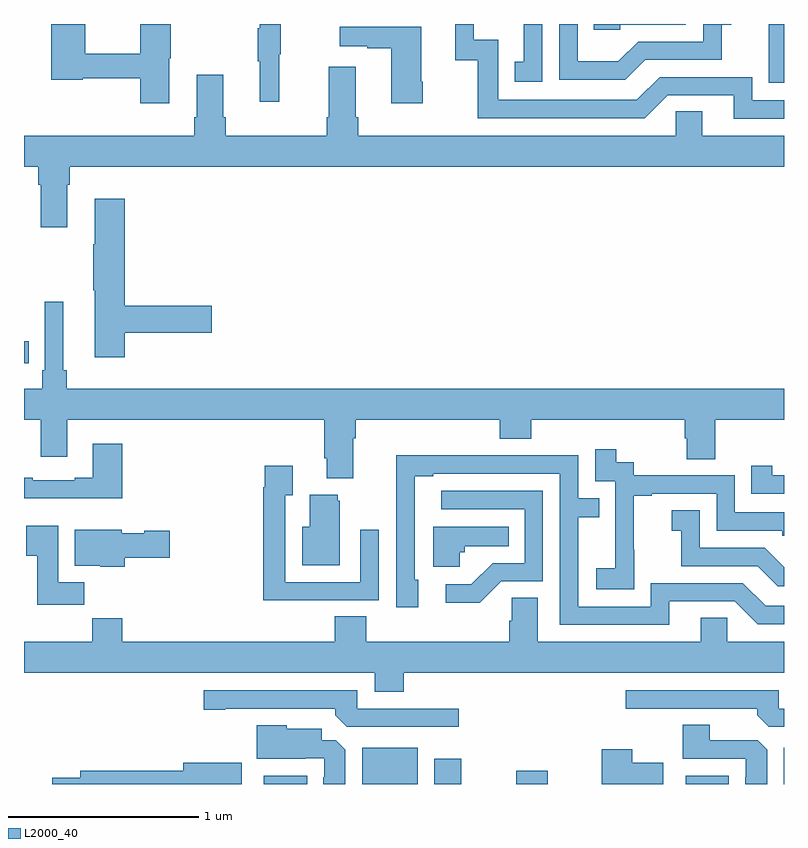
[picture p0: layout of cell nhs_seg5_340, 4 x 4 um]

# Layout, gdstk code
import gdstk
lib = gdstk.Library(unit=1e-6, precision=1e-09)
def R(c, l, rs):  # rectangles x0, y0, x1, y1
    for r in rs: c.add(gdstk.rectangle(r[:2], r[2:], *l))
def P(c, l, *ps):  # polygons
    for p in ps: c.add(gdstk.Polygon(p, *l))
L2000_40 = (2000, 40)

nhs_seg5_340 = lib.new_cell('nhs_seg5_340')
R(nhs_seg5_340, L2000_40, [(132.263,898.799,132.49,898.843), (132.779,898.799,133.072,898.99), (133.16,898.799,133.302,898.933), (133.591,898.799,133.756,898.87), (134.483,898.799,134.71,898.843), (134.999,898.799,135,898.99), (131,901.014,131.024,901.13)])
P(nhs_seg5_340, L2000_40, [(133.728,902.799),(133.631,902.799),(133.631,902.601),(133.582,902.601),(133.582,902.496),(133.728,902.496)],
  [(132.344,902.64),(132.352,902.64),(132.352,902.799),(132.242,902.799),(132.242,902.777),(132.231,902.777),(132.231,902.603),(132.242,902.603),(132.242,902.391),(132.344,902.391)],
  [(135,902.799),(134.921,902.799),(134.921,902.695),(134.92,902.695),(134.92,902.489),(135,902.489)],
  [(134.139,902.796),(134.484,902.796),(134.484,902.799),(133.999,902.799),(133.999,902.769),(134.139,902.769)],
  [(131.764,902.619),(131.772,902.619),(131.772,902.799),(131.611,902.799),(131.611,902.642),(131.322,902.642),(131.322,902.799),(131.144,902.799),(131.144,902.506),(131.31,902.506),(131.31,902.514),(131.611,902.514),(131.611,902.382),(131.764,902.382)],
  [(134.269,902.61),(134.673,902.61),(134.673,902.795),(134.722,902.795),(134.722,902.799),(134.574,902.799),(134.574,902.706),(134.232,902.706),(134.128,902.602),(133.914,902.602),(133.914,902.799),(133.818,902.799),(133.818,902.505),(134.164,902.505)],
  [(135,902.397),(134.832,902.397),(134.832,902.52),(134.346,902.52),(134.226,902.4),(133.497,902.4),(133.497,902.715),(133.368,902.715),(133.368,902.799),(133.271,902.799),(133.271,902.607),(133.389,902.607),(133.389,902.304),(134.268,902.304),(134.388,902.424),(134.735,902.424),(134.735,902.301),(135,902.301)],
  [(133.098,902.494),(133.09,902.494),(133.09,902.785),(132.663,902.785),(132.663,902.681),(132.806,902.681),(132.806,902.671),(132.932,902.671),(132.932,902.382),(133.098,902.382)],
  [(131.227,901.952),(131.24,901.952),(131.24,902.048),(135,902.048),(135,902.212),(134.569,902.212),(134.569,902.339),(134.43,902.339),(134.43,902.212),(132.758,902.212),(132.758,902.308),(132.745,902.308),(132.745,902.575),(132.605,902.575),(132.605,902.308),(132.593,902.308),(132.593,902.212),(132.062,902.212),(132.062,902.308),(132.049,902.308),(132.049,902.533),(131.909,902.533),(131.909,902.308),(131.897,902.308),(131.897,902.212),(131,902.212),(131,902.048),(131.075,902.048),(131.075,901.952),(131.087,901.952),(131.087,901.728),(131.227,901.728)],
  [(131.531,901.174),(131.989,901.174),(131.989,901.316),(131.531,901.316),(131.531,901.879),(131.372,901.879),(131.372,901.64),(131.365,901.64),(131.365,901.399),(131.372,901.399),(131.372,901.044),(131.531,901.044)],
  [(132.733,900.62),(132.746,900.62),(132.746,900.716),(133.505,900.716),(133.505,900.617),(133.67,900.617),(133.67,900.716),(134.477,900.716),(134.477,900.618),(134.489,900.618),(134.489,900.508),(134.637,900.508),(134.637,900.716),(135,900.716),(135,900.88),(131.225,900.88),(131.225,900.976),(131.206,900.976),(131.206,901.336),(131.109,901.336),(131.109,900.976),(131.096,900.976),(131.096,900.88),(131,900.88),(131,900.716),(131.087,900.716),(131.087,900.522),(131.227,900.522),(131.227,900.716),(132.581,900.716),(132.581,900.514),(132.593,900.514),(132.593,900.407),(132.733,900.407)],
  [(131.516,900.589),(131.363,900.589),(131.363,900.412),(131.267,900.412),(131.267,900.399),(131.047,900.399),(131.047,900.412),(131,900.412),(131,900.302),(131.516,900.302)],
  [(134.211,900.031),(134.21,900.031),(134.21,900.315),(134.305,900.315),(134.305,900.327),(134.646,900.327),(134.646,900.132),(134.991,900.132),(134.991,900.105),(135,900.105),(135,900.228),(134.742,900.228),(134.742,900.423),(134.208,900.423),(134.208,900.492),(134.116,900.492),(134.116,900.562),(134.007,900.562),(134.007,900.393),(134.112,900.393),(134.112,900.164),(134.111,900.164),(134.111,899.935),(134.013,899.935),(134.013,899.825),(134.211,899.825)],
  [(134.395,899.76),(134.742,899.76),(134.862,899.64),(135,899.64),(135,899.736),(134.904,899.736),(134.784,899.856),(134.298,899.856),(134.298,899.733),(133.917,899.733),(133.917,900.202),(134.027,900.202),(134.027,900.303),(133.917,900.303),(133.917,900.528),(133.421,900.528),(133.421,900.53),(132.958,900.53),(132.958,900.223),(132.96,900.223),(132.96,899.73),(133.075,899.73),(133.075,899.874),(133.056,899.874),(133.056,900.42),(133.153,900.42),(133.153,900.432),(133.821,900.432),(133.821,899.637),(134.395,899.637)],
  [(135,900.423),(134.938,900.423),(134.938,900.475),(134.827,900.475),(134.827,900.327),(135,900.327)],
  [(132.551,899.766),(132.867,899.766),(132.867,900.136),(132.771,900.136),(132.771,899.862),(132.375,899.862),(132.375,900.319),(132.415,900.319),(132.415,900.475),(132.267,900.475),(132.267,900.362),(132.259,900.362),(132.259,899.765),(132.551,899.765)],
  [(133.512,899.865),(133.731,899.865),(133.731,900.342),(133.197,900.342),(133.197,900.246),(133.635,900.246),(133.635,899.961),(133.466,899.961),(133.355,899.85),(133.221,899.85),(133.221,899.753),(133.399,899.753)],
  [(132.661,900.291),(132.65,900.291),(132.65,900.322),(132.503,900.322),(132.503,900.154),(132.464,900.154),(132.464,899.951),(132.661,899.951)],
  [(135,899.94),(134.898,900.042),(134.556,900.042),(134.556,900.241),(134.409,900.241),(134.409,900.131),(134.458,900.131),(134.458,899.946),(134.861,899.946),(134.966,899.841),(135,899.841)],
  [(131.318,899.86),(131.179,899.86),(131.179,900.157),(131.012,900.157),(131.012,900.001),(131.069,900.001),(131.069,899.742),(131.318,899.742)],
  [(133.293,900.018),(133.32,900.018),(133.32,900.05),(133.55,900.05),(133.55,900.154),(133.154,900.154),(133.154,899.942),(133.293,899.942)],
  [(131.531,899.989),(131.767,899.989),(131.767,900.131),(131.634,900.131),(131.634,900.118),(131.514,900.118),(131.514,900.136),(131.267,900.136),(131.267,899.948),(131.4,899.948),(131.4,899.942),(131.531,899.942)],
  [(132.998,899.384),(135,899.384),(135,899.548),(134.7,899.548),(134.7,899.675),(134.561,899.675),(134.561,899.548),(133.705,899.548),(133.705,899.78),(133.566,899.78),(133.566,899.657),(133.553,899.657),(133.553,899.548),(132.8,899.548),(132.8,899.681),(132.635,899.681),(132.635,899.548),(131.516,899.548),(131.516,899.672),(131.359,899.672),(131.359,899.548),(131,899.548),(131,899.384),(132.845,899.384),(132.845,899.285),(132.998,899.285)],
  [(133.288,899.196),(132.753,899.196),(132.753,899.292),(131.946,899.292),(131.946,899.191),(132.058,899.191),(132.058,899.196),(132.638,899.196),(132.638,899.162),(132.699,899.1),(133.288,899.1)],
  [(135,899.196),(134.973,899.196),(134.973,899.292),(134.166,899.292),(134.166,899.196),(134.858,899.196),(134.858,899.162),(134.919,899.1),(135,899.1)],
  [(134.911,898.979),(134.862,899.028),(134.608,899.028),(134.608,899.111),(134.468,899.111),(134.468,898.932),(134.799,898.932),(134.799,898.835),(134.795,898.835),(134.795,898.799),(134.911,898.799)],
  [(132.691,898.979),(132.642,899.028),(132.568,899.028),(132.568,899.089),(132.384,899.089),(132.384,899.107),(132.224,899.107),(132.224,898.931),(132.479,898.931),(132.479,898.935),(132.579,898.935),(132.579,898.835),(132.575,898.835),(132.575,898.799),(132.691,898.799)],
  [(134.365,898.912),(134.2,898.912),(134.2,898.981),(134.042,898.981),(134.042,898.799),(134.365,898.799)],
  [(132.145,898.912),(131.837,898.912),(131.837,898.868),(131.297,898.868),(131.297,898.832),(131.148,898.832),(131.148,898.799),(132.145,898.799)])

lib.write_gds('nhs_seg5_340.gds')
